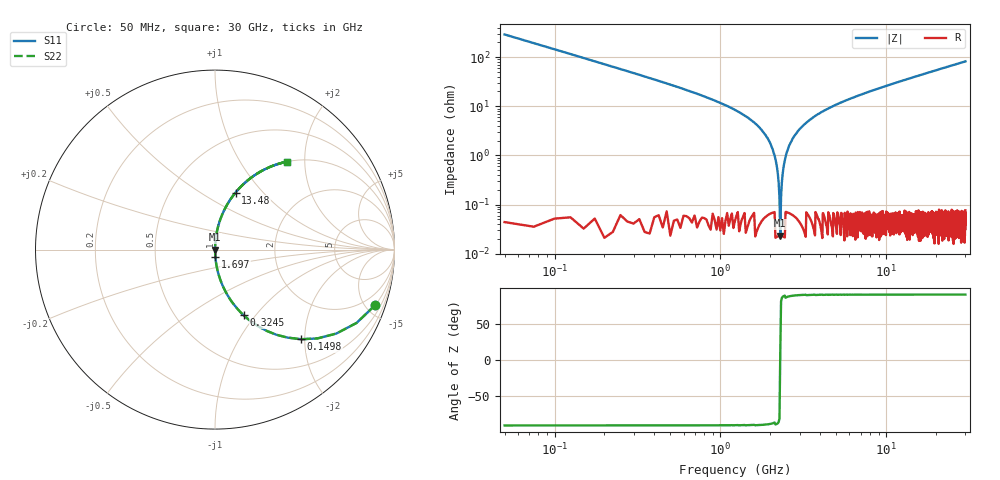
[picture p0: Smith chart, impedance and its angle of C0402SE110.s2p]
!	AVX Thin Film Operation 	Date: April 2014
!	Description: Accu-P® Series, Thin Film  SMD RF Capacitor
!	Part Number: 04023J110FBSTR
# MHZ S MA R 50
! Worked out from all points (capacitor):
!   1201 points, 50 MHz to 30 GHz, reference 50 ohm
!   read as one part in series: C = 11 pF near 199.8 MHz
!   lowest |Z| = 23.3 mohm at 2.296 GHz (marker M1)
!   series resonance near 2.296 GHz, so ESL is about 440 pH
!   S11 on the Smith chart (normalised r, x): 50 MHz: 1.00, -5.78; 149.8 MHz: 1.00, -1.92; 324.5 MHz: 1.00, -0.87; 1.697 GHz: 1.00, -0.08; 13.48 GHz: 1.00, +0.72; 30 GHz: 1.00, +1.64
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50  0.945 -19.1  0.327 70.9  0.327 70.9  0.945 -19.1
149.833  0.693 -46.1  0.721 43.9  0.721 43.9  0.693 -46.1
324.542  0.4 -66.3  0.916 23.6  0.916 23.6  0.4 -66.3
673.958  0.192 -78.8  0.981 11.1  0.981 11.1  0.192 -78.8
1697.25  0.039 -87.1  0.999 2.2  0.999 2.2  0.039 -87.1
1996.75  0.018 -87.5  0.999 1.0  0.999 1.0  0.018 -87.5
2096.583  0.011 -87.0  0.999 0.7  0.999 0.7  0.011 -87.0
2196.417  0.005582 -85.0  1 0.3  1 0.3  0.005582 -85.0
2296.25  0.0004616 4.9  1 -0.0  1 -0.0  0.0004616 4.9
2396.083  0.005423 84.8  1 -0.3  1 -0.3  0.005423 84.8
2495.917  0.011 86.9  0.999 -0.6  0.999 -0.6  0.011 86.9
2620.708  0.017 87.5  0.999 -1.0  0.999 -1.0  0.017 87.5
3020.042  0.035 87.2  0.999 -2.0  0.999 -2.0  0.035 87.2
3793.75  0.066 85.8  0.997 -3.8  0.997 -3.8  0.066 85.8
5041.667  0.109 83.5  0.994 -6.3  0.994 -6.3  0.109 83.5
7113.208  0.172 79.9  0.985 -9.9  0.985 -9.9  0.172 79.9
10058.29  0.253 75.2  0.967 -14.7  0.967 -14.7  0.253 75.2
13477.58  0.338 70.2  0.941 -19.8  0.941 -19.8  0.338 70.2
15025  0.374 68.0  0.927 -21.9  0.927 -21.9  0.374 68.0
20016.67  0.477 61.5  0.879 -28.5  0.879 -28.5  0.477 61.5
25033.29  0.563 55.7  0.826 -34.3  0.826 -34.3  0.563 55.7
30000  0.633 50.7  0.773 -39.3  0.773 -39.3  0.633 50.7
